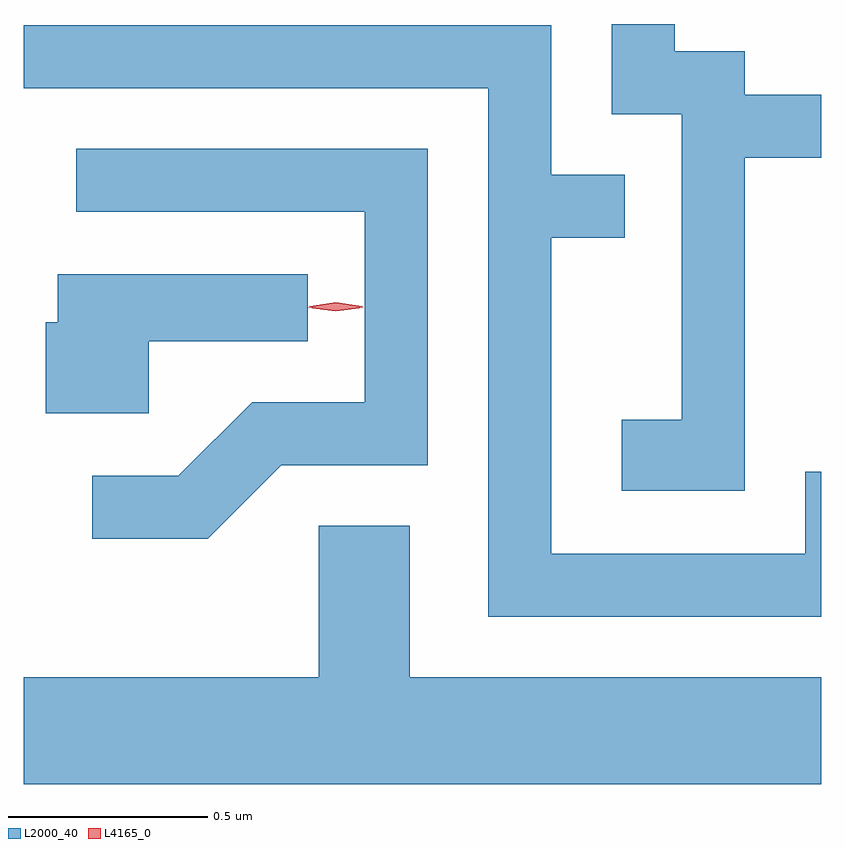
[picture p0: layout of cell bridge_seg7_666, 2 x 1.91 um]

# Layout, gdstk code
import gdstk
lib = gdstk.Library(unit=1e-6, precision=1e-09)
def P(c, l, *ps):  # polygons
    for p in ps: c.add(gdstk.Polygon(p, *l))
L2000_40 = (2000, 40)
L4165_0 = (4165, 0)

bridge_seg7_666 = lib.new_cell('bridge_seg7_666')
P(bridge_seg7_666, L2000_40, [(637.339,1695.906),(637.531,1695.906),(637.531,1696.064),(637.339,1696.064),(637.339,1696.174),(637.164,1696.174),(637.164,1696.242),(637.006,1696.242),(637.006,1696.016),(637.181,1696.016),(637.181,1695.249),(637.031,1695.249),(637.031,1695.071),(637.339,1695.071)],
  [(637.531,1695.119),(637.491,1695.119),(637.491,1694.914),(636.854,1694.914),(636.854,1695.706),(637.038,1695.706),(637.038,1695.864),(636.854,1695.864),(636.854,1696.239),(635.531,1696.239),(635.531,1696.081),(636.696,1696.081),(636.696,1694.756),(637.531,1694.756)],
  [(636.177,1695.136),(636.544,1695.136),(636.544,1695.929),(635.663,1695.929),(635.663,1695.771),(636.386,1695.771),(636.386,1695.294),(636.104,1695.294),(635.919,1695.109),(635.703,1695.109),(635.703,1694.951),(635.992,1694.951)],
  [(635.844,1695.446),(636.243,1695.446),(636.243,1695.614),(635.616,1695.614),(635.616,1695.494),(635.586,1695.494),(635.586,1695.266),(635.844,1695.266)],
  [(637.531,1694.604),(636.499,1694.604),(636.499,1694.984),(636.271,1694.984),(636.271,1694.604),(635.531,1694.604),(635.531,1694.336),(637.531,1694.336)])
P(bridge_seg7_666, L4165_0, [(636.314,1695.521),(636.245,1695.53),(636.244,1695.53),(636.245,1695.531),(636.314,1695.54),(636.383,1695.531),(636.383,1695.531),(636.383,1695.53)],
  [(636.314,1695.524),(636.248,1695.533),(636.247,1695.534),(636.248,1695.534),(636.314,1695.544),(636.38,1695.534),(636.381,1695.534),(636.38,1695.533)])

lib.write_gds('bridge_seg7_666.gds')
